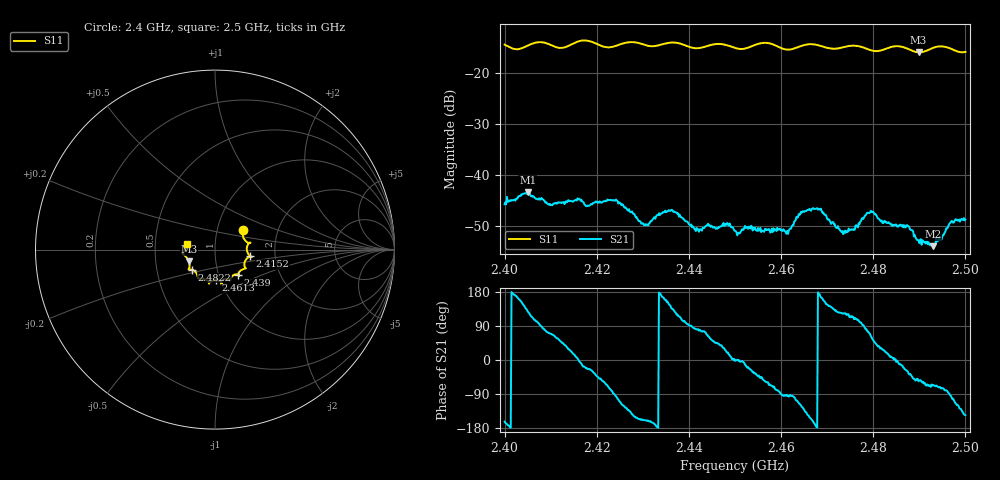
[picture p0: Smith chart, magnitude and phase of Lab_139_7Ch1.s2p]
# Hz S RI R 50
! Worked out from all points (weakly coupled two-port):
!   601 points, 2.4 GHz to 2.5 GHz, reference 50 ohm
!   highest |S21| = -43.34 dB at 2.405 GHz (marker M1); lowest = -53.9 dB at 2.493 GHz (marker M2)
!   lowest |S11| = -15.9 dB at 2.4898 GHz (marker M3), VSWR 1.38, Z = 37 - j5.04 ohm
!   |S11| at or under -10 dB: start of sweep to end of sweep
!   S12 and S22 are empty: the file has one direction only
!   S11 on the Smith chart (normalised r, x): 2.4 GHz: 1.33, +0.30; 2.4152 GHz: 1.48, -0.11; 2.439 GHz: 1.24, -0.36; 2.4613 GHz: 0.96, -0.34; 2.4822 GHz: 0.76, -0.17; 2.5 GHz: 0.73, +0.05
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2.4e9  0.1552 0.1105  -0.00495 -0.00154  0 0  0 0
2.405e9  0.182 0.0395  -0.00424 0.00533  0 0  0 0
2.409833e9  0.1879 0.0335  0.00181 0.0049  0 0  0 0
2.415167e9  0.1946 -0.036  0.00545 0.00134  0 0  0 0
2.416667e9  0.2044 -0.0419  0.00565 -0.000956  0 0  0 0
2.424e9  0.1635 -0.0855  -0.000357 -0.00561  0 0  0 0
2.430667e9  0.1517 -0.1115  -0.00303 -0.00114  0 0  0 0
2.433333e9  0.1325 -0.1327  -0.00406 -7.2e-05  0 0  0 0
2.439e9  0.1278 -0.1391  -0.000839 0.00356  0 0  0 0
2.441667e9  0.1016 -0.1432  0.000475 0.00299  0 0  0 0
2.45e9  0.0683 -0.1636  0.00283 -0.000114  0 0  0 0
2.461333e9  0.00723 -0.1701  -0.000252 -0.00283  0 0  0 0
2.466667e9  -0.0331 -0.1897  -0.00432 -0.00175  0 0  0 0
2.4735e9  -0.0822 -0.1602  -0.00143 0.00222  0 0  0 0
2.479167e9  -0.1012 -0.1362  0.00137 0.004  0 0  0 0
2.482167e9  -0.1279 -0.1118  0.00302 0.00151  0 0  0 0
2.483333e9  -0.1393 -0.1104  0.00336 0.000804  0 0  0 0
2.487333e9  -0.1431 -0.0999  0.00283 -0.00156  0 0  0 0
2.489833e9  -0.1455 -0.0663  0.00128 -0.0019  0 0  0 0
2.493e9  -0.1751 -0.0277  0.000819 -0.00183  0 0  0 0
2.496833e9  -0.1735 -0.0132  -0.000285 -0.00345  0 0  0 0
2.5e9  -0.1584 0.0333  -0.00303 -0.00205  0 0  0 0
